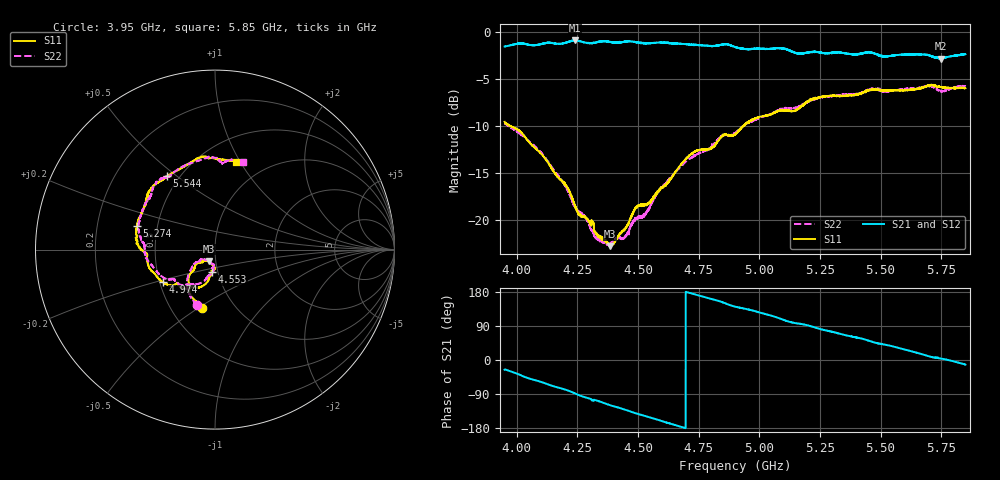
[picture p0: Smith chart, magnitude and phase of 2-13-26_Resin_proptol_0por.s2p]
# GHZ S RI R 50.000000000000
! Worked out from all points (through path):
!   4501 points, 3.95 GHz to 5.85 GHz, reference 50 ohm
!   highest |S21| = -0.93 dB at 4.239 GHz (marker M1); lowest = -2.9 dB at 5.747 GHz (marker M2)
!   lowest |S11| = -22.7 dB at 4.383 GHz (marker M3), VSWR 1.16, Z = 46.2 - j5.88 ohm
!   |S11| at or under -10 dB: 3.968958 GHz to 3.969055 GHz (96.91 kHz wide, 0.00244 % of centre); 3.975 GHz to 4.934 GHz (959.5 MHz wide, 21.5 % of centre); 4.93479 GHz to 4.93515 GHz (359.8 kHz wide, 0.00729 % of centre)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
!   |S22| runs from -22.7 to -5.7 dB; largest |S21 - S12| = 0.053
!   S11 on the Smith chart (normalised r, x): 3.95 GHz: 0.71, -0.52; 4.553 GHz: 0.94, -0.24; 4.974 GHz: 0.52, -0.21; 5.274 GHz: 0.38, +0.13; 5.544 GHz: 0.43, +0.46; 5.85 GHz: 0.74, +0.96
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3.95  -0.0705 -0.3252  0.7537 -0.3585  0.7559 -0.336  -0.0993 -0.3111
4.051756  -0.1436 -0.2151  0.5585 -0.6411  0.5721 -0.6439  -0.1536 -0.2112
4.239222  -0.0956 -0.0734  0.0324 -0.8975  0.0458 -0.8986  -0.0967 -0.0679
4.267089  -0.0784 -0.0713  -0.084 -0.8813  -0.075 -0.8894  -0.0866 -0.0671
4.327467  -0.0612 -0.0581  -0.2487 -0.841  -0.2406 -0.8381  -0.0595 -0.0537
4.3832  -0.0361 -0.0634  -0.4296 -0.7687  -0.4103 -0.7757  -0.0364 -0.0652
4.4934  -0.01 -0.1157  -0.6882 -0.5528  -0.6724 -0.5717  -0.0126 -0.1021
4.552511  -0.0172 -0.1253  -0.7675 -0.4093  -0.7546 -0.4277  -0.0114 -0.1202
4.583756  -0.0225 -0.1406  -0.8121 -0.3263  -0.7996 -0.3482  -0.0275 -0.1392
4.722667  -0.0849 -0.2098  -0.8503 0.0697  -0.854 0.0506  -0.0989 -0.1917
4.848067  -0.1807 -0.2142  -0.7577 0.3954  -0.7684 0.3691  -0.2068 -0.189
4.9  -0.2124 -0.189  -0.6436 0.5229  -0.662 0.5069  -0.2386 -0.1638
4.974311  -0.2914 -0.1813  -0.5266 0.6184  -0.5365 0.6015  -0.3075 -0.1404
5.100978  -0.3778 -0.0652  -0.2194 0.7819  -0.2546 0.781  -0.3909 -0.0197
5.217089  -0.4347 0.0437  0.0215 0.7795  -0.00737 0.7723  -0.4218 0.0967
5.274089  -0.4356 0.1309  0.157 0.7521  0.1345 0.7626  -0.418 0.1731
5.441289  -0.3742 0.302  0.4645 0.6186  0.4341 0.6384  -0.3449 0.344
5.533756  -0.2776 0.401  0.5805 0.4622  0.5636 0.4847  -0.2462 0.4146
5.543889  -0.268 0.4087  0.5953 0.4482  0.5786 0.472  -0.2381 0.424
5.668022  -0.1408 0.4845  0.7267 0.2073  0.7171 0.2414  -0.0809 0.4982
5.7474  -0.00487 0.5083  0.7171 0.0498  0.7181 0.0788  0.0392 0.4817
5.85  0.1185 0.4873  0.7424 -0.1598  0.7496 -0.1247  0.1568 0.4883
